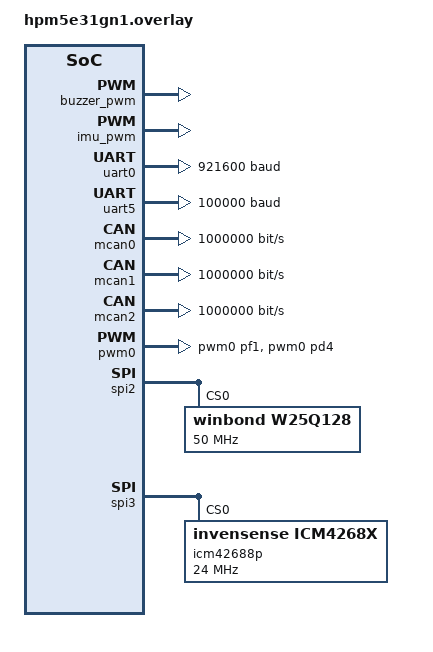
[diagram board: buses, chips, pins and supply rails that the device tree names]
#include <dt-bindings/pinctrl/hpmicro-pinctrl-common.h>
#include <dt-bindings/gpio/gpio.h>
#include <dt-bindings/pwm/pwm.h>

/ {
	aliases {
		shell-uart  = &uart0;
		remote-uart = &uart5;

		user-can0   = &mcan0;
		user-can1   = &mcan1;
		user-can2   = &mcan2;

		imu-spi     = &icm42688p;
		imu-pwm     = &imu_pwm;
		flash-spi   = &w25q128;

		buzzer-pwm  = &buzzer_pwm;
	};

	pwm {
		compatible = "pwm-leds";

		buzzer_pwm: buzzer_pwm {
			pwms = <&pwm0 1 PWM_USEC(1000) PWM_POLARITY_NORMAL>;
			label = "Buzzer";
			status = "okay";
		};

		imu_pwm: imu_pwm {
			pwms = <&pwm0 4 PWM_USEC(1000) PWM_POLARITY_NORMAL>;
			label = "ICM42688P Heater";
			status = "okay";
		};
	};
};

&pinctrl {
	pinmux_mcan0_txrx: pinmux_mcan0_txrx {
		group0 {
			pinmux = <HPMICRO_PINMUX(HPMICRO_PIN(HPMICRO_PORTC, 0), IOC_TYPE_IOC, 0, 7)>,
					 <HPMICRO_PINMUX(HPMICRO_PIN(HPMICRO_PORTC, 1), IOC_TYPE_IOC, 0, 7)>;
			input-enable;
		};
	};

	pinmux_mcan1_txrx: pinmux_mcan1_txrx {
		group0 {
			pinmux = <HPMICRO_PINMUX(HPMICRO_PIN(HPMICRO_PORTC, 5), IOC_TYPE_IOC, 0, 7)>,
					 <HPMICRO_PINMUX(HPMICRO_PIN(HPMICRO_PORTC, 4), IOC_TYPE_IOC, 0, 7)>;
			input-enable;
		};
	};

	pinmux_mcan2_txrx: pinmux_mcan2_txrx {
		group0 {
			pinmux = <HPMICRO_PINMUX(HPMICRO_PIN(HPMICRO_PORTD, 8), IOC_TYPE_IOC, 0, 7)>,
					 <HPMICRO_PINMUX(HPMICRO_PIN(HPMICRO_PORTD, 9), IOC_TYPE_IOC, 0, 7)>;
			input-enable;
		};
	};

	pinmux_uart5_rx: pinmux_uart5_rx {
		group0 {
			pinmux = <HPMICRO_PINMUX(HPMICRO_PIN(HPMICRO_PORTA, 22), IOC_TYPE_IOC, 0, 2)>;
			input-enable;
		};
	};

	pinmux_pwm0_pf1: pinmux_pwm0_pf1 {
		group0 {
			pinmux = <HPMICRO_PINMUX(HPMICRO_PIN(HPMICRO_PORTF, 1), IOC_TYPE_IOC, 0, 16)>;
		};
	};

	pinmux_spi2: pinmux_spi2 {
		group0 {
			pinmux = <HPMICRO_PINMUX(HPMICRO_PIN(HPMICRO_PORTC, 26), IOC_TYPE_IOC, 0, 5)>,
					 <HPMICRO_PINMUX(HPMICRO_PIN(HPMICRO_PORTC, 27), IOC_TYPE_IOC, 0, 5)>,
					 <HPMICRO_PINMUX(HPMICRO_PIN(HPMICRO_PORTC, 28), IOC_TYPE_IOC, 0, 5)>,
					 <HPMICRO_PINMUX(HPMICRO_PIN(HPMICRO_PORTC, 29), IOC_TYPE_IOC, 0, 5)>;
			input-enable;
		};
	};

	pinmux_spi3: pinmux_spi3 {
		group0 {
			pinmux = <HPMICRO_PINMUX(HPMICRO_PIN(HPMICRO_PORTC, 20), IOC_TYPE_IOC, 0, 5)>,
					 <HPMICRO_PINMUX(HPMICRO_PIN(HPMICRO_PORTC, 21), IOC_TYPE_IOC, 0, 5)>,
					 <HPMICRO_PINMUX(HPMICRO_PIN(HPMICRO_PORTC, 22), IOC_TYPE_IOC, 0, 5)>,
					 <HPMICRO_PINMUX(HPMICRO_PIN(HPMICRO_PORTC, 23), IOC_TYPE_IOC, 0, 5)>;
			input-enable;
		};
	};

	pinmux_pwm0_pd4: pinmux_pwm0_pd4 {
		group0 {
			pinmux = <HPMICRO_PINMUX(HPMICRO_PIN(HPMICRO_PORTD, 4), IOC_TYPE_IOC, 0, 16)>;
		};
	};
};

&uart0 {
	pinctrl-0 = <&pinmux_uart0>;
	pinctrl-names = "default";
	dmas = <&hdma 0 8>, <&hdma 1 9>;
	dma-names = "rx", "tx";
	current-speed = <921600>;
	status = "okay";
};

&uart5 {
	pinctrl-0 = <&pinmux_uart5_rx>;
	pinctrl-names = "default";
	dmas = <&hdma 2 0x12>, <&hdma 3 0x13>;
	dma-names = "rx", "tx";
	current-speed = <100000>;
	status = "okay";
};

&hdma {
	status = "okay";
};

&mcan0 {
	pinctrl-0 = <&pinmux_mcan0_txrx>;
	pinctrl-names = "default";
	bitrate = <1000000>;
	status = "okay";
};

&mcan1 {
	pinctrl-0 = <&pinmux_mcan1_txrx>;
	pinctrl-names = "default";
	bitrate = <1000000>;
	status = "okay";
};

&mcan2 {
	pinctrl-0 = <&pinmux_mcan2_txrx>;
	pinctrl-names = "default";
	bitrate = <1000000>;
	status = "okay";
};

&pwm0 {
	pinctrl-0 = <&pinmux_pwm0_pf1>, <&pinmux_pwm0_pd4>;
	pinctrl-names = "default";
	period-init = <1000>;
	dead-zone-in-half-cycle = <0>;
	status = "okay";
};

&spi2 {
	pinctrl-0 = <&pinmux_spi2>;
	pinctrl-names = "default";
	clocks = <&clk ((276 << 16) | 18) 0 1>;
	status = "okay";

	w25q128: w25q128@0 {
		compatible = "winbond,w25q128";
		reg = <0>;
		spi-max-frequency = <50000000>;
		status = "okay";
	};
};

&spi3 {
	pinctrl-0 = <&pinmux_spi3>;
	pinctrl-names = "default";
	clocks = <&clk ((277 << 16) | 19) 0 1>;
	status = "okay";

	icm42688p: icm42688p@0 {
		compatible = "invensense,icm4268x";
		reg = <0>;
		spi-max-frequency = <24000000>;
		status = "okay";
	};
};

&gpiof {
	pinctrl-0 = <&pinmux_esc_gpio>;
	pinctrl-names = "default";
	status = "okay";
};
